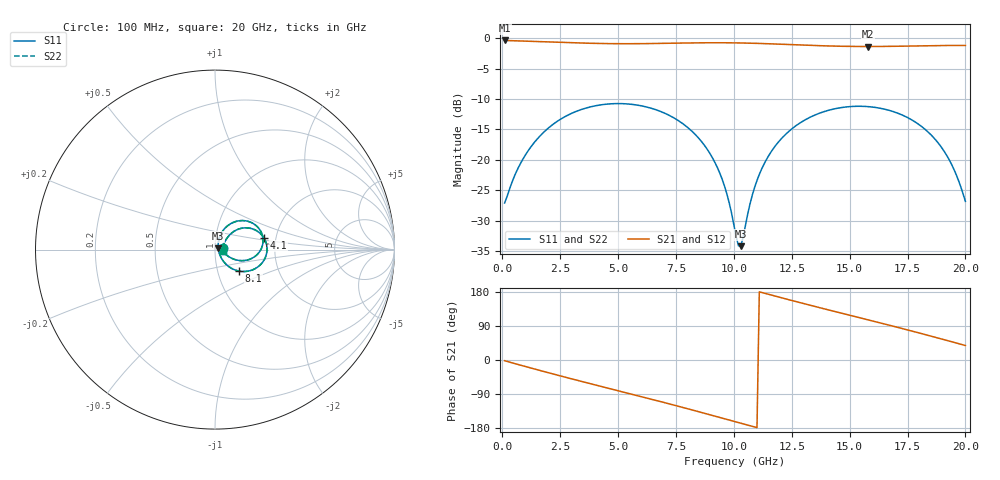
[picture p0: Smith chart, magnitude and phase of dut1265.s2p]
! Touchstone file exported from HFSS 2026.1.0
!  File:  C:/ffzhzh/LocalFiles/Ansys_Project_Files/temp_train_TSV_RDL_1265_1783327632_30076.aedt
!  Generated:  04:59:52 PM Jul  6, 2026
!  Design:  TSV_RDL
!  Project:  temp_train_TSV_RDL_1265_1783327632_30076
! Variables:
!  h_bsmrdl = 4.29um
!  h_ox = 20um
!  h_rdl = 5um
!  h_sub = 89.28um
!  h_tmrdl = 2.84um
!  h_tsv = 89.28um
!  h_via = 3um
!  l_bsmrdl = 773.48um
!  l_sub = 5352.48um
!  l_tmrdl = 637.76um
!  m_sub = 200um
!  pitch = 21.37um
!  r_tsv = 4.18um
!  s_tmrdl = 10um
!  w_bsmrdl = 15.43um
!  w_sub = 500um
!  w_tmrdl = 11.57um
!  x_tsv_center1 = 643.545um
!  x_tsv_center2 = 1432.455um
!  x_tsv_center3 = 2081.785um
!  x_tsv_center4 = 2870.695um
!  x_tsv_center5 = 3520.025um
!  x_tsv_center6 = 4308.935um
# GHz S MA R 50.000000
! Terminal data exported
! Port[1] = TM_RDL1_1_T1
! Port[2] = TM_RDL5_1_T1
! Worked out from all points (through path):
!   200 points, 100 MHz to 20 GHz, reference 50 ohm
!   highest |S21| = -0.38 dB at 100 MHz (marker M1); lowest = -1.4 dB at 15.8 GHz (marker M2)
!   group delay of S21, straight-line fit = 44.5 ps
!   lowest |S11| = -34.2 dB at 10.3 GHz (marker M3), VSWR 1.04, Z = 51.9 + j0.668 ohm
!   |S11| at or under -10 dB: start of sweep to end of sweep
!   |S22| runs from -34.1 to -10.8 dB; largest |S21 - S12| = 1.6e-14
!   S11 on the Smith chart (normalised r, x): 100 MHz: 1.09, +0.02; 4.1 GHz: 1.73, +0.25; 8.1 GHz: 1.26, -0.31; 20 GHz: 1.09, -0.02
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0.1  0.04423 13.8  0.9573 -1.8  0.9573 -1.8  0.04423 13.8
! Gamma 0 0 0 0
! Port Impedance 50 0 50 0
0.7  0.08687 42.8  0.9476 -12.2  0.9476 -12.2  0.08687 42.8
1.4  0.1403 44.4  0.9387 -23.9  0.9387 -23.9  0.1403 44.4
2.3  0.2028 36.6  0.9263 -38.6  0.9263 -38.6  0.2028 36.6
3.5  0.2625 21.7  0.9107 -57.8  0.9107 -57.8  0.2625 21.7
4.1  0.28 13.6  0.905 -67.1  0.905 -67.1  0.28 13.6
5.5  0.2871 -5.8  0.9001 -88.8  0.9001 -88.8  0.2871 -5.8
6.8  0.2514 -24.1  0.9051 -109.2  0.9051 -109.2  0.2514 -24.1
8.1  0.1782 -42.1  0.9135 -130.2  0.9135 -130.2  0.1782 -42.1
9.3  0.08555 -54.2  0.917 -150.0  0.917 -150.0  0.08558 -54.1
9.7  0.05242 -52.1  0.9163 -156.7  0.9163 -156.7  0.05247 -51.9
10.1  0.02342 -25.2  0.9144 -163.4  0.9144 -163.4  0.02358 -24.9
10.3  0.01954 19.2  0.913 -166.8  0.913 -166.8  0.01975 19.1
10.8  0.05156 67.3  0.9084 -175.1  0.9084 -175.1  0.05167 67.1
11.4  0.1 68.7  0.901 174.9  0.901 174.9  0.1001 68.5
12.3  0.1665 59.3  0.8876 160.3  0.8876 160.3  0.1665 59.2
13.4  0.229 44.8  0.8711 142.9  0.8711 142.9  0.2291 44.7
15.8  0.2738 12.2  0.8536 105.9  0.8536 105.9  0.2739 12.1
16.7  0.2554 0.0  0.8559 92.0  0.8559 92.0  0.2555 -0.1
18.7  0.1471 -24.3  0.8687 60.0  0.8687 60.0  0.1471 -24.5
19.4  0.09207 -27.4  0.8712 48.3  0.8712 48.3  0.09209 -27.7
20  0.04564 -12.9  0.871 38.2  0.871 38.2  0.04549 -13.4
